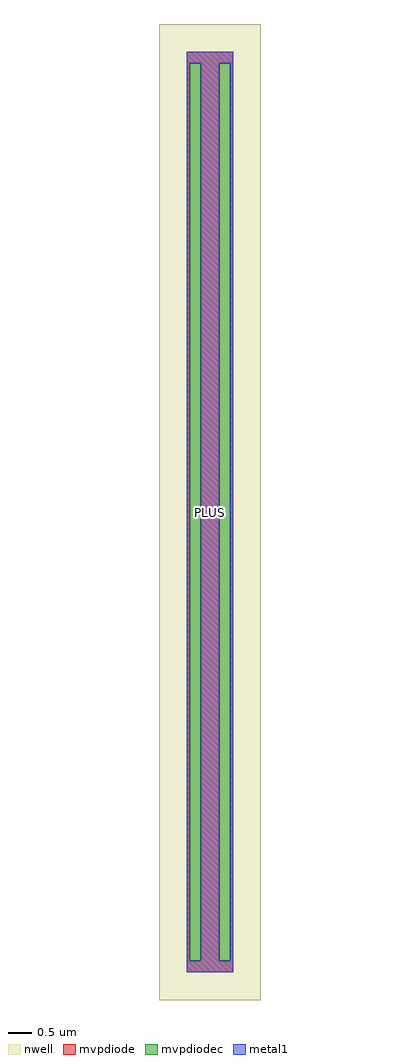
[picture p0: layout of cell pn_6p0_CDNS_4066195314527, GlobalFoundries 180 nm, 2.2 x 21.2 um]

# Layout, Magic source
magic
tech gf180mcuD
magscale 1 10
<< nwell >>
rect -120 -120 320 4120
<< mvpdiode >>
rect 0 3950 200 4000
rect 0 50 13 3950
rect 59 50 141 3950
rect 187 50 200 3950
rect 0 0 200 50
<< mvpdiodec >>
rect 13 50 59 3950
rect 141 50 187 3950
<< metal1 >>
rect 0 3950 200 4000
rect 0 50 13 3950
rect 59 50 141 3950
rect 187 50 200 3950
rect 0 0 200 50
<< labels >>
rlabel metal1 100 2000 100 2000 4 PLUS
<< end >>
